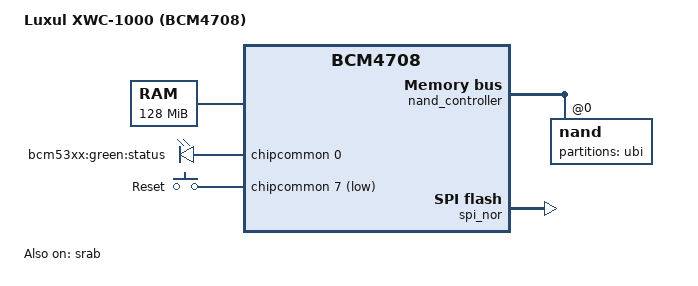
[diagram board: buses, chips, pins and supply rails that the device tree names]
// SPDX-License-Identifier: GPL-2.0-or-later OR MIT
/*
 * Broadcom BCM470X / BCM5301X ARM platform code.
 * DTS for Luxul XWC-1000
 *
 * Copyright 2014 Luxul Inc.
 */

/dts-v1/;

#include "bcm4708.dtsi"
#include "bcm5301x-nand-cs0-bch8.dtsi"

/ {
	compatible = "luxul,xwc-1000", "brcm,bcm4708";
	model = "Luxul XWC-1000 (BCM4708)";

	chosen {
		bootargs = "console=ttyS0,115200 earlycon";
	};

	memory@0 {
		device_type = "memory";
		reg = <0x00000000 0x08000000>;
	};

	nvram@1eff0000 {
		compatible = "brcm,nvram";
		reg = <0x1eff0000 0x10000>;

		et0macaddr: et0macaddr {
		};
	};

	nand_controller: nand-controller@18028000 {
		nand@0 {
			partitions {
				compatible = "fixed-partitions";
				#address-cells = <1>;
				#size-cells = <1>;

				partition@0 {
					label = "ubi";
					reg = <0x00000000 0x08000000>;
				};
			};
		};
	};

	leds {
		compatible = "gpio-leds";

		led-status {
			label = "bcm53xx:green:status";
			gpios = <&chipcommon 0 GPIO_ACTIVE_HIGH>;
			linux,default-trigger = "timer";
		};
	};

	gpio-keys {
		compatible = "gpio-keys";

		button-restart {
			label = "Reset";
			linux,code = <KEY_RESTART>;
			gpios = <&chipcommon 7 GPIO_ACTIVE_LOW>;
		};
	};
};

&gmac0 {
	nvmem-cells = <&et0macaddr>;
	nvmem-cell-names = "mac-address";
};

&spi_nor {
	status = "okay";
};

&srab {
	status = "okay";

	ports {
		port@4 {
			label = "lan";
		};

		port@5 {
			label = "cpu";
		};

		port@7 {
			status = "disabled";
		};

		port@8 {
			status = "disabled";
		};
	};
};
